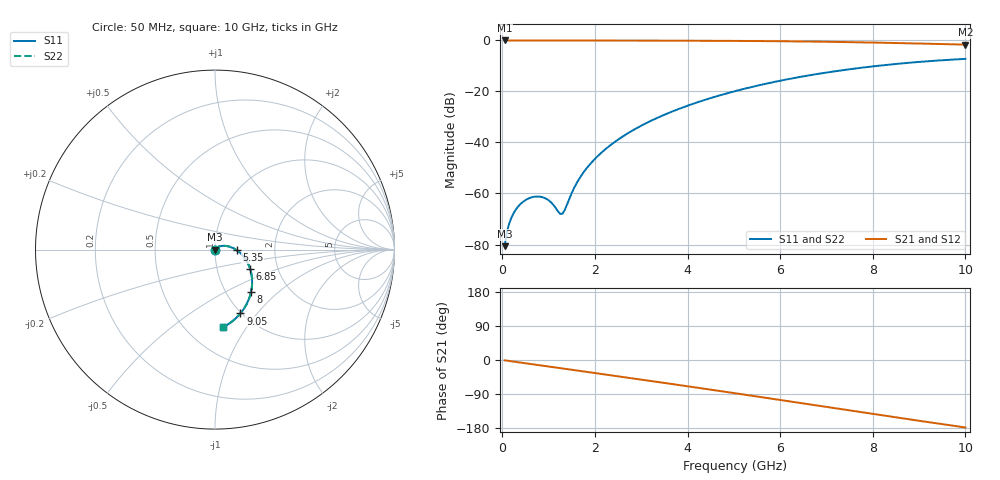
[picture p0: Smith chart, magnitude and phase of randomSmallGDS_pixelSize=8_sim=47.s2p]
! freq	dB(S11)	phase(S11)	dB(S12)	phase(S12)
!  dB(S21)	phase(S21)	dB(S22)	phase(S22)
!S-par simulation data
#  GHz  S  DB  R 50
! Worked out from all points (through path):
!   200 points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, 50 MHz to 10 GHz, reference 50 ohm
!   highest |S21| = 0.00 dB at 50 MHz (marker M1); lowest = -1.6 dB at 10 GHz (marker M2)
!   group delay of S21, straight-line fit = 49.8 ps
!   lowest |S11| = -80.7 dB at 50 MHz (marker M3), VSWR 1.00, Z = 50 - j0.00875 ohm
!   |S11| at or under -10 dB: start of sweep to 8.084 GHz
!   |S22| runs from -80.7 to -7.2 dB; largest |S21 - S12| = 0
!   S11 on the Smith chart (normalised r, x): 50 MHz: 1.00, -0.00; 5.35 GHz: 1.27, -0.01; 6.85 GHz: 1.44, -0.33; 8 GHz: 1.30, -0.68; 9.05 GHz: 0.99, -0.82; 10 GHz: 0.73, -0.78
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0.05  -80.65 -70.6  -0.00 -0.9  -0.00 -0.9  -80.66 -70.6
0.1  -75.10 -81.8  -0.00 -1.7  -0.00 -1.7  -75.10 -81.9
0.2  -69.35 -89.7  -0.00 -3.5  -0.00 -3.5  -69.35 -89.8
0.4  -64.02 -97.8  -0.01 -6.9  -0.01 -6.9  -64.02 -97.9
0.6  -61.71 -104.7  -0.01 -10.4  -0.01 -10.4  -61.71 -105.0
0.85  -61.37 -115.3  -0.02 -14.6  -0.02 -14.6  -61.36 -115.8
1  -62.65 -125.4  -0.02 -17.2  -0.02 -17.2  -62.63 -126.1
1.25  -68.00 -179.3  -0.02 -21.5  -0.02 -21.5  -67.72 179.8
1.3  -67.94 155.6  -0.03 -22.4  -0.03 -22.4  -67.60 155.5
1.55  -57.86 89.7  -0.03 -26.6  -0.03 -26.6  -57.78 90.6
1.75  -51.83 76.0  -0.03 -30.1  -0.03 -30.1  -51.79 76.6
2.05  -45.52 64.9  -0.04 -35.2  -0.04 -35.2  -45.51 65.3
2.4  -40.17 55.8  -0.05 -41.3  -0.05 -41.3  -40.16 56.1
3.4  -29.92 34.9  -0.07 -58.7  -0.07 -58.7  -29.91 35.1
5.05  -19.76 4.2  -0.17 -88.1  -0.17 -88.1  -19.76 4.3
5.35  -18.39 -1.3  -0.21 -93.5  -0.21 -93.5  -18.39 -1.2
6.7  -13.45 -26.1  -0.44 -118.3  -0.44 -118.3  -13.45 -26.0
6.85  -13.01 -28.9  -0.48 -121.1  -0.48 -121.1  -13.00 -28.8
8  -10.17 -49.7  -0.82 -142.2  -0.82 -142.2  -10.17 -49.6
8.35  -9.49 -56.0  -0.94 -148.6  -0.94 -148.6  -9.49 -55.9
9.05  -8.35 -68.3  -1.22 -161.3  -1.22 -161.3  -8.34 -68.2
10  -7.22 -84.5  -1.63 -178.1  -1.63 -178.1  -7.22 -84.4
